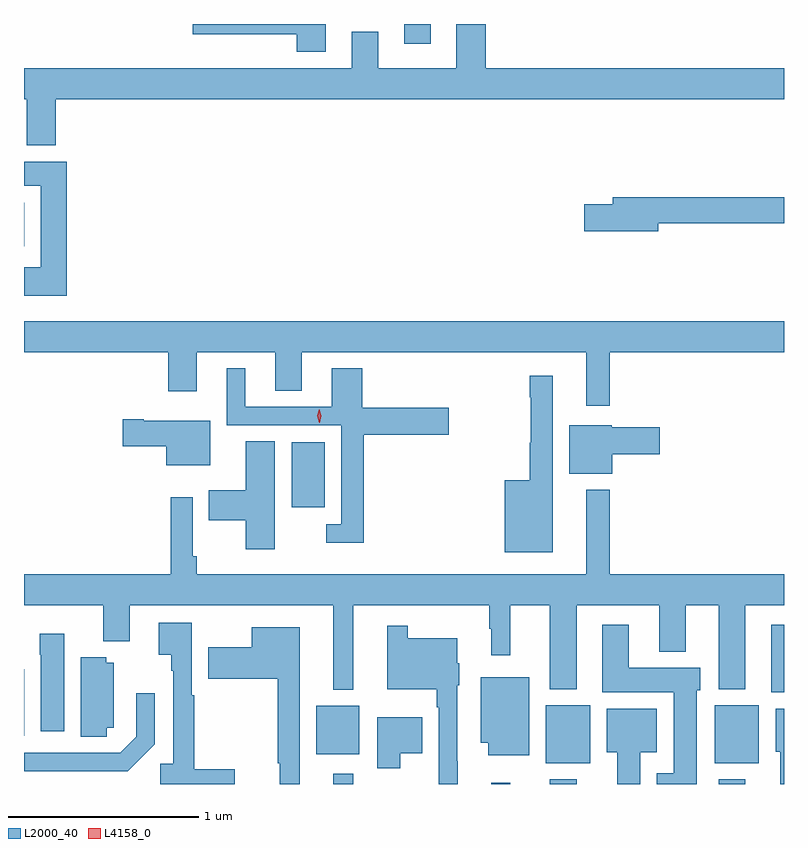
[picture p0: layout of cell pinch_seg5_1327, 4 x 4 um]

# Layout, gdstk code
import gdstk
lib = gdstk.Library(unit=1e-6, precision=1e-09)
def R(c, l, rs):  # rectangles x0, y0, x1, y1
    for r in rs: c.add(gdstk.rectangle(r[:2], r[2:], *l))
def P(c, l, *ps):  # polygons
    for p in ps: c.add(gdstk.Polygon(p, *l))
L2000_40 = (2000, 40)
L4158_0 = (4158, 0)

pinch_seg5_1327 = lib.new_cell('pinch_seg5_1327')
R(pinch_seg5_1327, L2000_40, [(275.681,897.112,275.785,897.166), (276.512,897.112,276.611,897.118), (276.821,897.112,276.961,897.136), (277.709,897.112,277.849,897.136), (276.8,897.221,277.033,897.526), (277.688,897.221,277.921,897.526), (275.591,897.269,275.818,897.523), (274.053,897.365,274.054,897.717), (277.985,897.596,278.053,897.949), (275.462,898.568,275.635,898.912), (274.053,899.942,274.054,900.172), (276.053,901.008,276.193,901.112)])
P(pinch_seg5_1327, L2000_40, [(275.641,901.112),(274.941,901.112),(274.941,901.058),(275.489,901.058),(275.489,900.966),(275.641,900.966)],
  [(274.22,900.716),(278.053,900.716),(278.053,900.88),(276.482,900.88),(276.482,901.112),(276.329,901.112),(276.329,900.88),(275.917,900.88),(275.917,901.07),(275.777,901.07),(275.777,900.88),(274.053,900.88),(274.053,900.716),(274.067,900.716),(274.067,900.473),(274.22,900.473)],
  [(274.277,900.388),(274.053,900.388),(274.053,900.26),(274.142,900.26),(274.142,899.833),(274.053,899.833),(274.053,899.681),(274.277,899.681)],
  [(277.39,900.064),(278.053,900.064),(278.053,900.2),(277.151,900.2),(277.151,900.164),(277.002,900.164),(277.002,900.022),(277.39,900.022)],
  [(277.135,899.384),(278.053,899.384),(278.053,899.548),(274.053,899.548),(274.053,899.384),(274.811,899.384),(274.811,899.178),(274.963,899.178),(274.963,899.384),(275.375,899.384),(275.375,899.182),(275.515,899.182),(275.515,899.384),(277.013,899.384),(277.013,899.103),(277.135,899.103)],
  [(275.84,898.949),(276.289,898.949),(276.289,899.091),(275.834,899.091),(275.834,899.299),(275.672,899.299),(275.672,899.097),(275.218,899.097),(275.218,899.299),(275.12,899.299),(275.12,899.001),(275.724,899.001),(275.724,898.479),(275.643,898.479),(275.643,898.382),(275.84,898.382)],
  [(276.835,899.26),(276.714,899.26),(276.714,899.147),(276.721,899.147),(276.721,898.907),(276.714,898.907),(276.714,898.711),(276.584,898.711),(276.584,898.331),(276.835,898.331)],
  [(275.032,899.023),(274.684,899.023),(274.684,899.031),(274.572,899.031),(274.572,898.889),(274.802,898.889),(274.802,898.79),(275.032,898.79)],
  [(277.15,898.847),(277.399,898.847),(277.399,898.989),(277.146,898.989),(277.146,898.999),(276.923,898.999),(276.923,898.745),(277.15,898.745)],
  [(275.374,898.916),(275.219,898.916),(275.219,898.657),(275.026,898.657),(275.026,898.499),(275.219,898.499),(275.219,898.347),(275.374,898.347)],
  [(275.785,898.052),(276.501,898.052),(276.501,897.929),(276.512,897.929),(276.512,897.789),(276.611,897.789),(276.611,898.052),(276.821,898.052),(276.821,897.611),(276.961,897.611),(276.961,898.052),(277.397,898.052),(277.397,897.809),(277.537,897.809),(277.537,898.052),(277.709,898.052),(277.709,897.611),(277.849,897.611),(277.849,898.052),(278.053,898.052),(278.053,898.216),(277.135,898.216),(277.135,898.66),(277.013,898.66),(277.013,898.216),(274.961,898.216),(274.961,898.312),(274.941,898.312),(274.941,898.621),(274.825,898.621),(274.825,898.216),(274.053,898.216),(274.053,898.052),(274.469,898.052),(274.469,897.863),(274.609,897.863),(274.609,898.052),(275.681,898.052),(275.681,897.608),(275.785,897.608)],
  [(275.161,897.189),(274.948,897.189),(274.948,897.578),(274.935,897.578),(274.935,897.961),(274.761,897.961),(274.761,897.791),(274.827,897.791),(274.827,897.707),(274.839,897.707),(274.839,897.219),(274.77,897.219),(274.77,897.112),(275.161,897.112)],
  [(277.594,897.606),(277.612,897.606),(277.612,897.724),(277.237,897.724),(277.237,897.949),(277.097,897.949),(277.097,897.596),(277.472,897.596),(277.472,897.169),(277.382,897.169),(277.382,897.112),(277.594,897.112)],
  [(276.335,897.233),(276.333,897.233),(276.333,897.633),(276.343,897.633),(276.343,897.747),(276.334,897.747),(276.334,897.88),(276.073,897.88),(276.073,897.946),(275.964,897.946),(275.964,897.611),(276.225,897.611),(276.225,897.515),(276.237,897.515),(276.237,897.112),(276.335,897.112)],
  [(275.503,897.937),(275.252,897.937),(275.252,897.832),(275.022,897.832),(275.022,897.667),(275.389,897.667),(275.389,897.221),(275.399,897.221),(275.399,897.112),(275.503,897.112)],
  [(274.264,897.904),(274.135,897.904),(274.135,897.791),(274.142,897.791),(274.142,897.39),(274.264,897.39)],
  [(274.488,897.408),(274.525,897.408),(274.525,897.751),(274.485,897.751),(274.485,897.778),(274.352,897.778),(274.352,897.361),(274.488,897.361)],
  [(276.712,897.673),(276.458,897.673),(276.458,897.329),(276.497,897.329),(276.497,897.263),(276.712,897.263)],
  [(274.74,897.32),(274.74,897.589),(274.644,897.589),(274.644,897.36),(274.56,897.276),(274.053,897.276),(274.053,897.179),(274.599,897.179)],
  [(277.297,897.278),(277.384,897.278),(277.384,897.508),(277.121,897.508),(277.121,897.278),(277.175,897.278),(277.175,897.112),(277.297,897.112)],
  [(278.053,897.508),(278.009,897.508),(278.009,897.282),(278.033,897.282),(278.033,897.112),(278.053,897.112)],
  [(276.034,897.275),(276.148,897.275),(276.148,897.463),(275.912,897.463),(275.912,897.194),(276.034,897.194)])
P(pinch_seg5_1327, L4158_0, [(275.608,899.013),(275.597,899.049),(275.606,899.085),(275.606,899.085),(275.606,899.085),(275.617,899.049),(275.609,899.013),(275.609,899.013)])

lib.write_gds('pinch_seg5_1327.gds')
